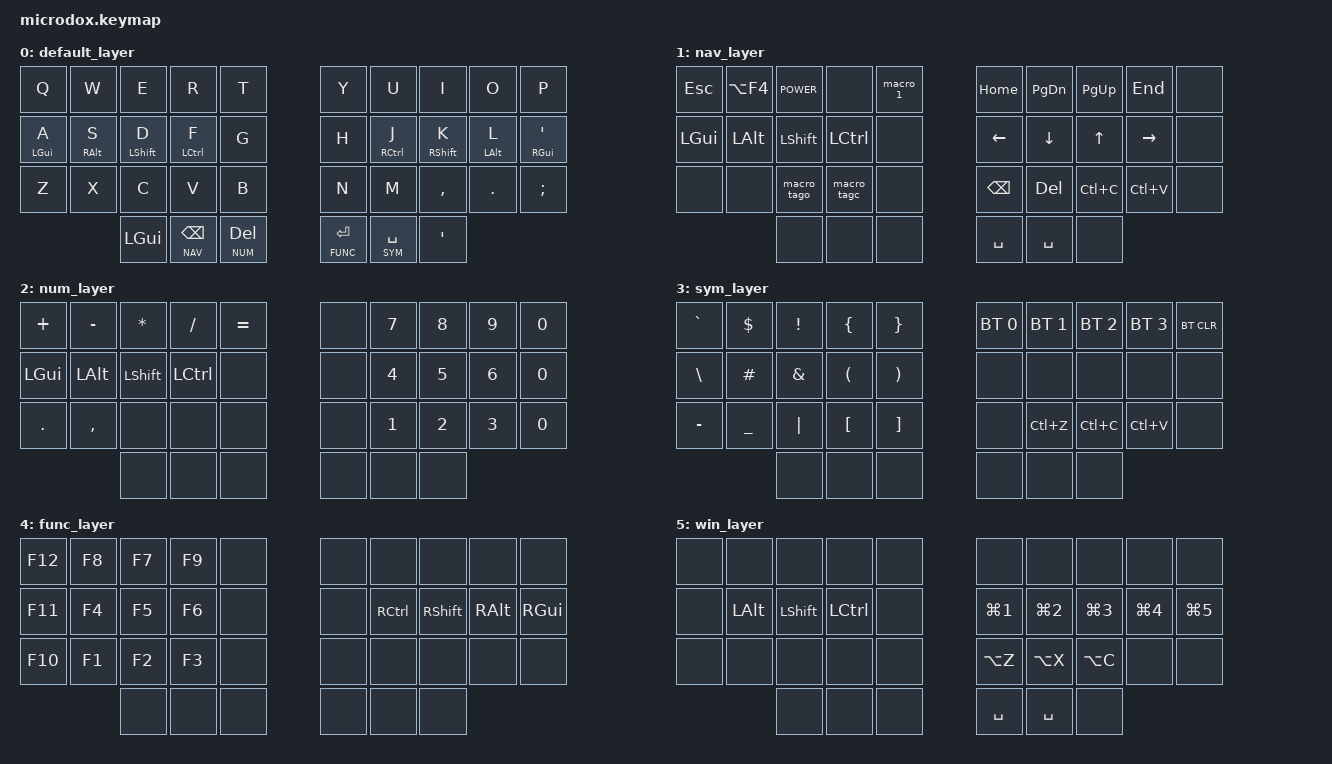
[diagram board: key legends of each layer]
// microdox
/*
 * Copyright (c) 2020 The ZMK Contributors
 *
 * SPDX-License-Identifier: MIT
 */

#include <behaviors.dtsi>
#include <dt-bindings/zmk/keys.h>
#include <dt-bindings/zmk/bt.h>

#define DEFAULT 0
#define NAV 1
#define NUM 2
#define SYM 3
#define FUNC 4
#define WIN 5

#define COMBO(NAME, BINDINGS, KEYPOS) \
  combo_##NAME { \
    timeout-ms = <50>; \
    bindings = <BINDINGS>; \
    key-positions = <KEYPOS>; \
    layers = <0>; \
  };

/ {

        behaviors {
                hm: homerow_mods {
                        compatible = "zmk,behavior-hold-tap";
                        label = "HOMEROW_MODS";
                        #binding-cells = <2>;
                        tapping_term_ms = <150>;
                        flavor = "tap-preferred";
                        bindings = <&kp>, <&kp>;
                };
                
                macro_1: macro_1 {
                        compatible = "zmk,behavior-macro";
                        label = "MACRO_1";
                        #binding-cells = <0>;
                        bindings = <&kp P>, <&kp A>, <&kp I>, <&kp N>;
                };
                
                macro_tago: macro_tago {
                        compatible = "zmk,behavior-macro";
                        label = "MACRO_TAGO";
                        #binding-cells = <0>;
                        bindings = <&kp LT>, <&kp GT>, <&kp LEFT>;
                };
                
                macro_tagc: macro_tagc {
                        compatible = "zmk,behavior-macro";
                        label = "MACRO_TAGC";
                        #binding-cells = <0>;
                        bindings = <&kp LT>, <&kp FSLH>, <&kp GT>, <&kp LEFT>;
                };
        };

        combos {
                compatible = "zmk,combos";
                      
                COMBO(slash, &kp SLASH, 27 28)
                COMBO(backslash, &kp BSLH, 28 29)

                COMBO(esckey, &kp ESC, 2 3)
                COMBO(tabkey, &kp TAB, 12 13)
                
                COMBO(minus, &kp MINUS, 20 21)
                COMBO(under, &kp UNDER, 21 22)
                COMBO(tilde, &kp TILDE, 22 23)
                
                COMBO(one, &kp N1, 0 10)
                COMBO(two, &kp N2, 1 11)
                COMBO(three, &kp N3, 2 12)
                COMBO(four, &kp N4, 3 13)
                COMBO(five, &kp N5, 4 14)
                COMBO(six, &kp N6, 5 15)
                COMBO(seven, &kp N7, 6 16)
                COMBO(eight, &kp N8, 7 17)
                COMBO(nine, &kp N9, 8 18)
                COMBO(zero, &kp N0, 9 19)
        };

        keymap {
                compatible = "zmk,keymap";

                default_layer {
// -----------------------------------------------------------------------------------------
// |  Q  |  W  |  E  |  R  |  T  |   |  Y  |  U   |  I  |  O  |  P  |
// |  A  |  S  |  D  |  F  |  G  |   |  H  |  J   |  K  |  L  |  '  |
// |  Z  |  X  |  C  |  V  |  B  |   |  N  |  M   |  ,  |  .  |  ;  |
//             |  -  | BSP | DEL |   | ENT | SPC  | ALT |
                        bindings = <
   &kp Q          &kp W       &kp E        &kp R        &kp T       /**/    &kp Y   &kp U       &kp I       &kp O        &kp P
   &hm LGUI A      &hm RALT S  &hm LSHFT D  &hm LCTRL F  &kp G       /**/    &kp H   &hm RCTRL J &hm RSHFT K &hm LALT L   &hm RGUI SQT
   &kp Z          &kp X       &kp C        &kp V        &kp B       /**/    &kp N   &kp M       &kp COMMA   &kp DOT      &kp SEMI
                                &kp LGUI   &lt NAV BSPC &lt NUM DEL   /**/  &lt FUNC ENTER  &lt SYM SPACE   &kp SQT
                        >;
                };


                nav_layer {
/*
        | ESC | AF4 |     |     |  m1 |        | HME | DWN | UP  | END |     |
        | WIN | ALT | SFT | CTL |     |        | <-  |  v  |  ^  | ->  |     |
        |     |     |     |     |     |        |     | BSP | DEL |     |     |
                    |     |     |     |        |     |     |     | 
*/
                        bindings = <
   &kp ESC    &kp LA(F4) &kp K_POWER &none       &macro_1 /**/   &kp HOME   &kp PG_DN  &kp PG_UP  &kp END    &none
   &kp LGUI   &kp LALT   &kp LSHFT   &kp LCTRL   &none    /**/   &kp LEFT   &kp DOWN   &kp UP     &kp RIGHT  &none
   &none      &none      &macro_tago &macro_tagc &none    /**/   &kp BSPC   &kp DEL    &kp LC(C)  &kp LC(V)  &none
                         &none       &none       &none    /**/   &kp SPACE  &kp SPACE  &none
                        >;
                };


                num_layer {
/*
        |  +  |  -  |  *  |  /  |  =  |        |     |  7  |  8  |  9  |  0  |
        | WIN | ALT | SFT | CTL |     |        |     |  4  |  5  |  6  |  0  |
        |  .  |  ,  |     |     |     |        |     |  1  |  2  |  3  |  0  |
                    |     |     |     |        |     |     |     | 
*/
                        bindings = <
   &kp PLUS   &kp MINUS &kp ASTRK  &kp SLASH  &kp EQUAL /**/  &none      &kp N7     &kp N8     &kp N9      &kp N0
   &kp LGUI   &kp LALT  &kp LSHFT  &kp LCTRL  &none     /**/  &none      &kp N4     &kp N5     &kp N6      &kp N0
   &kp DOT    &kp COMMA &none      &none      &none     /**/  &none      &kp N1     &kp N2     &kp N3      &kp N0
                        &none      &none      &none     /**/  &none      &none      &none
                        >;
                };


                sym_layer {
/*
        |  `  |  $  |  !  |  {  |  }  |        |     |     |     |     |     |
        |  \  |  #  |  &  |  (  |  )  |        |     |     |     |     |     |
        |  -  |  _  |  |  |  [  |  ]  |        |     | CUT | CPY | PST |     |
                    |     |     |     |        |     |     |     | 
*/
                        bindings = <
   &kp GRAVE  &kp DLLR  &kp EXCL   &kp LBRC   &kp RBRC   /**/   &bt BT_SEL 0  &bt BT_SEL 1  &bt BT_SEL 2   &bt BT_SEL 3  &bt BT_CLR
   &kp BSLH   &kp HASH  &kp AMPS   &kp LPAR   &kp RPAR   /**/   &none         &none         &none          &none         &none
   &kp MINUS  &kp UNDER &kp PIPE   &kp LBKT   &kp RBKT   /**/   &none         &kp LC(Z)     &kp LC(C)      &kp LC(V)     &none
                        &none      &none      &none      /**/   &none         &none         &none
                        >;
                };


                func_layer {
/*
        | F12 |  F7 |  F8 |  F9 |     |        |     |     |     |     |     |
        | F11 |  F4 |  F5 |  F6 |     |        |     | WIN | ALT | SFT | CTL |
        | F10 |  F1 |  F2 |  F3 |     |        |     |     |     |     |     |
                    |     |     |     |        |     |     |     | 
*/
                        bindings = <
   &kp F12    &kp F8    &kp F7     &kp F9     &none  /**/   &none      &none      &none      &none      &none
   &kp F11    &kp F4    &kp F5     &kp F6     &none  /**/   &none      &kp RCTRL  &kp RSHFT  &kp RALT   &kp RGUI
   &kp F10    &kp F1    &kp F2     &kp F3     &none  /**/   &none      &none      &none      &none      &none
                        &none      &none      &none  /**/   &none      &none      &none
                        >;
                };

                win_layer {
/* Layer for WM Shortcuts
        |     |     |     |     |     |        |     |     |     |     |     |
        |     | ALT | SFT | CTL |     |        | D1  |  D2 | D3  | D4  |  D5 |
        |     |     |     |     |     |        |  L  |  M  | R   |     |     |
                    |     |     |     |        |     |     |     | 
*/
                        bindings = <
   &none      &none      &none      &none      &none    /**/   &none      &none      &none      &none      &none
   &none      &kp LALT   &kp LSHFT  &kp LCTRL  &none    /**/   &kp LG(N1) &kp LG(N2) &kp LG(N3) &kp LG(N4) &kp LG(N5)
   &none      &none      &none      &none      &none    /**/   &kp LA(Z)  &kp LA(X)  &kp LA(C)  &none      &none
                         &none      &none      &none    /**/   &kp SPACE  &kp SPACE  &none
                        >;
                };
        };
};
